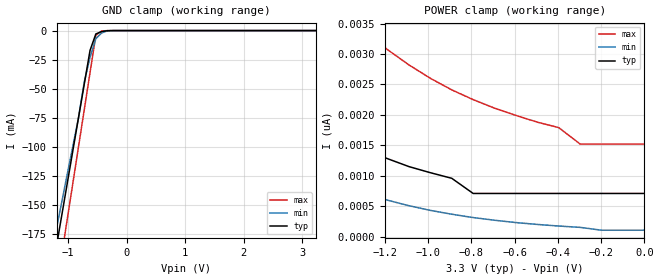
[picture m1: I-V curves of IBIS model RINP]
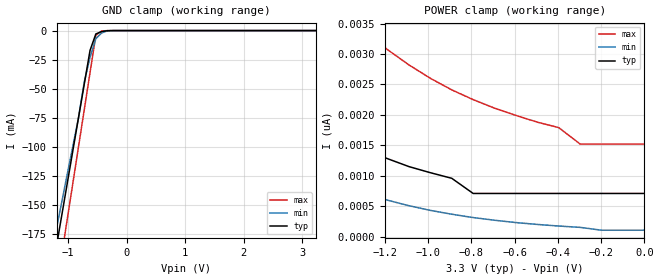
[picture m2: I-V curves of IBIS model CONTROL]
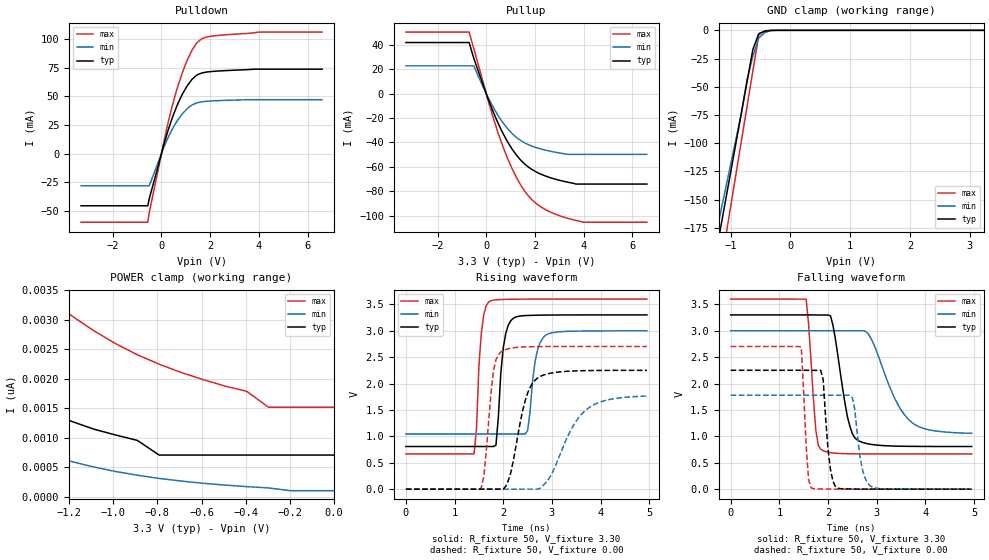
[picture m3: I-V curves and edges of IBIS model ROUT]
| Texas Instruments Incorporated
| 3V LVDS Quad CMOS Differential Line Receiver
| Marketing part#   Voltage Range   Package-type   #pins/pkg drawing
| DS90LV048APW   3.0V - 3.6V   TSSOP   16-pin PW
| DS90LV048AD   3.0V - 3.6V   SOIC   16-pin D
[IBIS Ver]   4.1
[File name]   ds90lv048a.ibs
[File Rev]   1.0
[Date]   05/06/2014
[Source]   Model built from spectre simulations at:
   Texas Instruments Incorporated.
   Analog-eLab, HPA
   12500 TI Blvd
   Dallas, TX -75243
   For Support e-mail: elab_ibis@list.ti.com
[Notes]   Revision History
   Rev 1.0: 05/06/2014
   - Model based on DS90LV032A
[Disclaimer]  This model is designed as an aid for customers of Texas Instruments
 TI and its licensors and suppliers make no warranties, either expressed
 or implied, with respect to this  model, including the warranties of
 merchantability or fitness for a particular purpose.
 The model is provided solely on an "as is" basis. The entire risk as to
 its quality and performance is with the customer.
[Copyright] (C)Copyright 2014 Texas Instruments Incorporated.
   All rights reserved.
[Component]   DS90LV048AD
[Manufacturer]  Texas Instruments Incorporated
[Package]   |16-pin SOIC D package
|   typ   min   max
R_pkg   50.0m   50.0m   50.0m
L_pkg   1.37nH   0.95n   2.07n
C_pkg   0.26pF   0.146p   0.429p
[Pin]   signal_name   model_name   R_pin   L_pin   C_pin
1   Rin1-   RINM   50.0m   2.07n   0.429p
2   Rin1+   RINP   50.0m   1.49n   0.306p
3   Rin2+   RINP   50.0m   0.95n   0.146p
4   Rin2-   RINM   50.0m   0.95n   0.152p
5   Rin3-   RINM   50.0m   0.95n   0.152p
6   Rin3+   RINP   50.0m   0.95n   0.146p
7   Rin4+   RINP   50.0m   1.49n   0.306p
8   Rin4-   RINM   50.0m   2.07n   0.429p
9   EN*   CONTROL   50.0m   2.07n   0.429p
10   Rout4   ROUT   50.0m   1.49n   0.306p
11   Rout3   ROUT   50.0m   0.95n   0.146p
12   GND   GND   50.0m   0.95n   0.152p
13   Vcc   POWER   50.0m   0.95n   0.152p
14   Rout2   ROUT   50.0m   0.95n   0.146p
15   Rout1   ROUT   50.0m   1.49n   0.306p
16   EN   CONTROL   50.0m   2.07n   0.429p
[Diff Pin] inv_pin   vdiff   tdelay_typ   tdelay_min   tdelay_max
| The '+' pin is Diff_pin and the '-' pin is the inv_pin
2   1   100mV   NA   NA   NA
3   4   100mV   NA   NA   NA
6   5   100mV   NA   NA   NA
7   8   100mV   NA   NA   NA
[Component]   DS90LV048APW
[Manufacturer]  Texas Instruments Incorporated
[Package]   |16-pin TSSOP PW package
|   typ   min   max
R_pkg   91m   78m   115m
L_pkg   2.49n   2.15n   3.12n
C_pkg   0.086p   0.076p   0.109p
[Pin]   signal_name   model_name   R_pin   L_pin   C_pin
1   Rin1-   RINM   113m   3.053n   .108p
2   Rin1+   RINP   91m   2.494n   .083p
3   Rin2+   RINP   80m   2.218n   .079p
4   Rin2-   RINM   78m   2.157n   .076p
5   Rin3-   RINM   79m   2.183n   .077p
6   Rin3+   RINP   84m   2.318n   .078p
7   Rin4+   RINP   93m   2.550n   .083p
8   Rin4-   RINM   108m   2.984n   .107p
9   EN*   CONTROL   115m   3.121n   .109p
10   Rout4   ROUT   93m   2.551n   .083p
11   Rout3   ROUT   81m   2.237n   .079p
12   GND   GND   78m   2.152n   .076p
13   Vcc   POWER   79m   2.173n   .076p
14   Rout2   ROUT   83m   2.291n   .078p
15   Rout1   ROUT   90m   2.480n   .083p
16   EN   CONTROL   106m   2.914n   .106p
[Diff Pin] inv_pin   vdiff   tdelay_typ   tdelay_min   tdelay_max
| The '+' pin is Diff_pin and the '-' pin is the inv_pin
2   1   100mV   NA   NA   NA
3   4   100mV   NA   NA   NA
6   5   100mV   NA   NA   NA
7   8   100mV   NA   NA   NA
| Models and submodels in the file (4): RINP (Input), RINM (Input), CONTROL (Input), ROUT (3-state)
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[Model] RINP
Model_type Input
Vinh=0.1
Vinl=-0.1
|   TYP   MIN   MAX
C_comp   2.25p   1p   2.75p
[Temperature Range] 25   85   -40
[Voltage Range]   3.30   3.00   3.60
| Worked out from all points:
|   GND clamp passes 1 mA (typ) near -0.44 V on its own axis
[GND Clamp]
|V(groundclamp)   I(typ)   I(min)   I(max)
-3.3V     -800mA     -700mA     -900mA
-1.221V   -191mA     -175mA     -228mA
-1.122V   -162mA     -150mA     -196mA
-1.023V   -133mA     -125mA     -164mA
-825mV    -75mA      -75mA      -100mA
-726mV    -46mA      -44.2mA    -68mA
-627mV    -17mA      -22.9mA    -36mA
-528mV    -2.88mA    -6.91mA    -4mA
-429mV    -868uA     -2.06mA    -342uA
-330mV    -103uA     -230uA     -43.7uA
-231mV    -7.76uA    -11.5uA    -4.83uA
3.234V    245pA      53.3pA     1.12nA
[POWER Clamp]
|V(table)   I(typ)   I(min)   I(max)
-3.267V   19.9nA     16nA       32nA
-2.277V   5.16nA     3.62nA     10.2nA
-2.178V   4.5nA      3.09nA     9.04nA
-1.98V    3.42nA     2.24nA     7.15nA
-1.683V   2.29nA     1.37nA     5.09nA
-1.287V   1.42nA     707pA      3.37nA
-1.089V   1.15nA     508pA      2.82nA
-891mV    958pA      368pA      2.41nA
-792mV    709pA      313pA      2.25nA
-396mV    709pA      174pA      1.79nA
-297mV    709pA      152pA      1.52nA
0V        709pA      105pA      1.52nA
[Model] CONTROL
Model_type Input
Vinh=2.0
Vinl=0.8
|   TYP   MIN   MAX
C_comp   3p   3p   3p
[Temperature Range] 25   85   -40
[Voltage Range]   3.30   3.00   3.60
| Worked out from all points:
|   GND clamp passes 1 mA (typ) near -0.44 V on its own axis
[GND Clamp]
|V(groundclamp)   I(typ)   I(min)   I(max)
-3.3V     -800mA     -700mA     -900mA
-1.221V   -191mA     -175mA     -228mA
-1.122V   -162mA     -150mA     -196mA
-1.023V   -133mA     -125mA     -164mA
-825mV    -75mA      -75mA      -100mA
-726mV    -46mA      -44.2mA    -68mA
-627mV    -17mA      -22.9mA    -36mA
-528mV    -2.88mA    -6.91mA    -4mA
-429mV    -868uA     -2.06mA    -342uA
-330mV    -103uA     -230uA     -43.7uA
-231mV    -7.76uA    -11.5uA    -4.83uA
3.234V    245pA      53.3pA     1.12nA
[POWER Clamp]
|V(table)   I(typ)   I(min)   I(max)
-3.267V   19.9nA     16nA       32nA
-2.277V   5.16nA     3.62nA     10.2nA
-2.178V   4.5nA      3.09nA     9.04nA
-1.98V    3.42nA     2.24nA     7.15nA
-1.683V   2.29nA     1.37nA     5.09nA
-1.287V   1.42nA     707pA      3.37nA
-1.089V   1.15nA     508pA      2.82nA
-891mV    958pA      368pA      2.41nA
-792mV    709pA      313pA      2.25nA
-396mV    709pA      174pA      1.79nA
-297mV    709pA      152pA      1.52nA
0V        709pA      105pA      1.52nA
[Model]  ROUT
Model_type 3-state
Enable Active-High
Polarity Non-Inverting
Vref=0.0
Vmeas=1.65
Cref=10p
|   TYP   MIN   MAX
C_comp   4.2p   3.7p   4.9p
[Temperature Range] 25   85   -40
[Voltage Range]   3.30   3.00   3.60
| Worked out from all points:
|   slope of the pulldown table from 0 to 0.495 V, typ, clamps not added: 14.5 ohm
|   slope of the pullup table from 0 to 0.495 V, typ, clamps not added: 20.2 ohm
|   GND clamp passes 1 mA (typ) near -0.44 V on its own axis
|   falling waveform, R_fixture 50, V_fixture 3.30: 20-80 % time 258ps typ, 543ps min, 129ps max; typ from 3.3 V to 0.808 V
|   falling waveform, R_fixture 50, V_fixture 0.00: 20-80 % time 121ps typ, 153ps min, 92ps max; typ from 2.25 V to 0 V
|   rising waveform, R_fixture 50, V_fixture 3.30: 20-80 % time 130ps typ, 151ps min, 103ps max; typ from 0.808 V to 3.3 V
|   rising waveform, R_fixture 50, V_fixture 0.00: 20-80 % time 307ps typ, 572ps min, 157ps max; typ from 0 V to 2.25 V
[Pullup]
|Vtable   I(typ)   I(min)   I(max)
-3.3V     41.78mA    22.7mA     50.33mA
-700mV    41.78mA    22.7mA     50.33mA
-512mV    29.03mA    22.7mA     36.91mA
300mV     -15.55mA   -11.59mA   -20.51mA
862mV     -38.95mA   -28.35mA   -52.32mA
1.425V    -54.59mA   -38.51mA   -75.06mA
1.675V    -59.21mA   -41.24mA   -82.3mA
2.05V     -64.06mA   -44.15mA   -89.91mA
2.862V    -70.17mA   -48.06mA   -98.81mA
3.675V    -73.99mA   -49.71mA   -103.7mA
3.987V    -73.99mA   -49.71mA   -105.2mA
6.6V      -73.99mA   -49.71mA   -105.2mA
[Pulldown]
|V(pulldown)   I(typ)   I(min)   I(max)
-3.3V     -45.6mA    -28.09mA   -59.93mA
-562.5mV  -45.6mA    -28.09mA   -59.93mA
-500mV    -39.41mA   -28.09mA   -51.57mA
250mV     18.81mA    12.97mA    24.97mA
625mV     41.14mA    27.9mA     55.5mA
875mV     52.59mA    35.22mA    71.76mA
1.062V    59.45mA    39.4mA     81.87mA
1.438V    68.45mA    44.3mA     96.41mA
1.625V    70.29mA    45.22mA    99.98mA
2.188V    72.04mA    46.22mA    103.1mA
4V        73.87mA    47.18mA    106.3mA
6.6V      73.87mA    47.18mA    106.3mA
[GND Clamp]
|V(groundclamp)   I(typ)   I(min)   I(max)
-3.3V     -800mA     -700mA     -900mA
-1.221V   -191mA     -175mA     -228mA
-1.122V   -162mA     -150mA     -196mA
-1.023V   -133mA     -125mA     -164mA
-825mV    -75mA      -75mA      -100mA
-726mV    -46mA      -44.2mA    -68mA
-627mV    -17mA      -22.9mA    -36mA
-528mV    -2.88mA    -6.91mA    -4mA
-429mV    -868uA     -2.06mA    -342uA
-330mV    -103uA     -230uA     -43.7uA
-231mV    -7.76uA    -11.5uA    -4.83uA
3.234V    245pA      53.3pA     1.12nA
[POWER Clamp]
|V(table)   I(typ)   I(min)   I(max)
-3.267V   19.9nA     16nA       32nA
-2.277V   5.16nA     3.62nA     10.2nA
-2.178V   4.5nA      3.09nA     9.04nA
-1.98V    3.42nA     2.24nA     7.15nA
-1.683V   2.29nA     1.37nA     5.09nA
-1.287V   1.42nA     707pA      3.37nA
-1.089V   1.15nA     508pA      2.82nA
-891mV    958pA      368pA      2.41nA
-792mV    709pA      313pA      2.25nA
-396mV    709pA      174pA      1.79nA
-297mV    709pA      152pA      1.52nA
0V        709pA      105pA      1.52nA
[Ramp]
|   TYP   MIN   MAX
dV/dt_r   1.496V/0.258ns   1.160V/0.540ns   1.758V/0.127ns
dV/dt_f   1.349V/0.305ns   1.059V/0.586ns   1.620V/0.152ns
R_load=50
[Falling Waveform]
R_fixture=50
V_fixture=3.30
V_fixture_min=3.00
V_fixture_max=3.60
|Time   V(typ)   V(min)   V(max)
0s        3.3V       3V         3.6V
1.55ns    3.3V       3V         3.599V
1.75ns    3.299V     3V         1.105V
1.85ns    3.298V     3V         757mV
2.05ns    3.283V     3V         691mV
2.4ns     1.363V     2.999V     671mV
2.55ns    971mV      2.999V     669mV
2.85ns    853mV      2.905V     668mV
3.65ns    811mV      1.32V      668mV
4.95ns    808mV      1.057V     668mV
[Falling Waveform]
R_fixture=50
V_fixture=0.00
V_fixture_min=0.00
V_fixture_max=0.00
|Time   V(typ)   V(min)   V(max)
0s        2.251V     1.779V     2.702V
1.45ns    2.251V     1.779V     2.692V
1.55ns    2.251V     1.779V     831mV
1.65ns    2.251V     1.779V     26.9mV
1.9ns     2.071V     1.779V     2.86mV
2ns       746mV      1.779V     1.7mV
2.15ns    50.1mV     1.779V     783uV
2.5ns     3.28mV     1.728V     174uV
2.9ns     911uV      43.5mV     55.1uV
4.95ns    21.7uV     183uV      1.59uV
[Rising Waveform]
R_fixture=50
V_fixture=3.30
V_fixture_min=3.00
V_fixture_max=3.60
|Time   V(typ)   V(min)   V(max)
0s        808mV      1.045V     668mV
1.4ns     808mV      1.045V     668mV
1.55ns    808mV      1.045V     2.96V
1.7ns     808mV      1.045V     3.544V
1.85ns    832mV      1.045V     3.585V
2ns       2.675V     1.045V     3.593V
2.2ns     3.232V     1.046V     3.598V
2.5ns     3.289V     1.108V     3.599V
2.85ns    3.296V     2.9V       3.6V
4.95ns    3.3V       2.999V     3.6V
[Rising Waveform]
R_fixture=50
V_fixture=0.00
V_fixture_min=0.00
V_fixture_max=0.00
|Time   V(typ)   V(min)   V(max)
0s        2.1nV      24.2nV     108pV
1.55ns    1.94uV     22.5nV     29mV
1.6ns     72.5nV     24.1nV     244mV
1.8ns     840uV      23.8nV     2.245V
2ns       840uV      717nV      2.623V
2.15ns    295mV      1.64uV     2.668V
2.45ns    1.674V     912uV      2.695V
2.7ns     2.102V     912uV      2.7V
3.7ns     2.245V     1.5V       2.702V
4.95ns    2.25V      1.763V     2.702V
